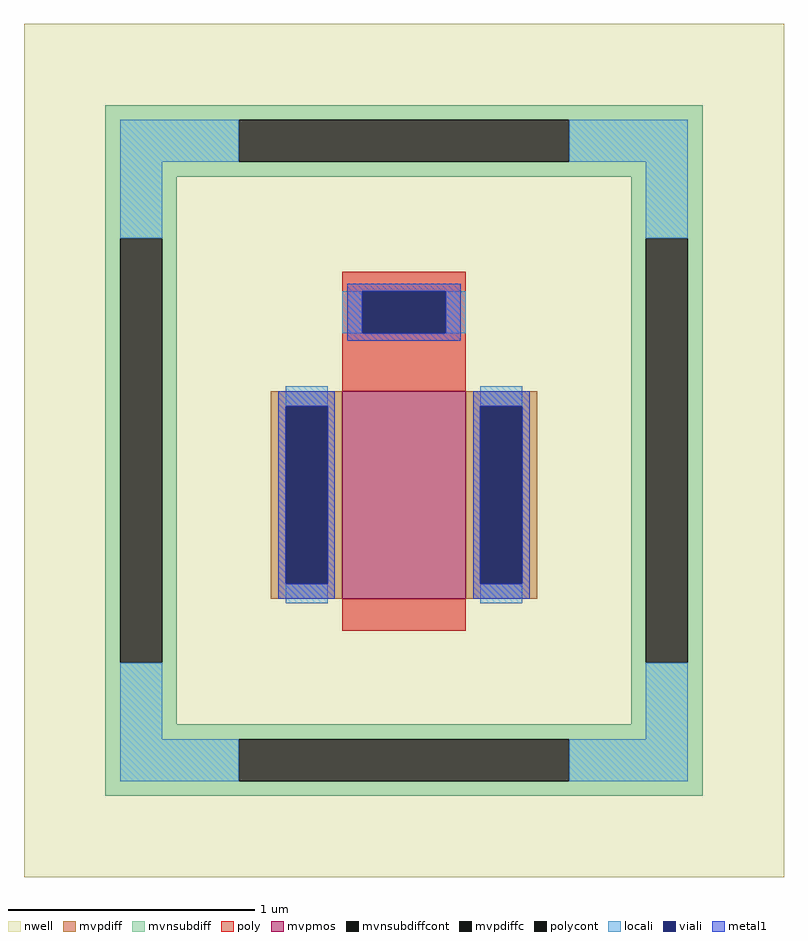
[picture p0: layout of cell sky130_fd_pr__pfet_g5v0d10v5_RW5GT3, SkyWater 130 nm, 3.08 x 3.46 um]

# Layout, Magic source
magic
tech sky130A
magscale 1 2
<< nwell >>
rect -308 -346 308 346
<< mvpmos >>
rect -50 -120 50 48
<< mvpdiff >>
rect -108 36 -50 48
rect -108 -108 -96 36
rect -62 -108 -50 36
rect -108 -120 -50 -108
rect 50 36 108 48
rect 50 -108 62 36
rect 96 -108 108 36
rect 50 -120 108 -108
<< mvpdiffc >>
rect -96 -108 -62 36
rect 62 -108 96 36
<< mvnsubdiff >>
rect -242 268 242 280
rect -242 234 -134 268
rect 134 234 242 268
rect -242 222 242 234
rect -242 172 -184 222
rect -242 -172 -230 172
rect -196 -172 -184 172
rect 184 172 242 222
rect -242 -222 -184 -172
rect 184 -172 196 172
rect 230 -172 242 172
rect 184 -222 242 -172
rect -242 -234 242 -222
rect -242 -268 -134 -234
rect 134 -268 242 -234
rect -242 -280 242 -268
<< mvnsubdiffcont >>
rect -134 234 134 268
rect -230 -172 -196 172
rect 196 -172 230 172
rect -134 -268 134 -234
<< poly >>
rect -50 129 50 145
rect -50 95 -34 129
rect 34 95 50 129
rect -50 48 50 95
rect -50 -146 50 -120
<< polycont >>
rect -34 95 34 129
<< locali >>
rect -230 234 -134 268
rect 134 234 230 268
rect -230 172 -196 234
rect 196 172 230 234
rect -50 95 -34 129
rect 34 95 50 129
rect -96 36 -62 52
rect -96 -124 -62 -108
rect 62 36 96 52
rect 62 -124 96 -108
rect -230 -234 -196 -172
rect 196 -234 230 -172
rect -230 -268 -134 -234
rect 134 -268 230 -234
<< viali >>
rect -34 95 34 129
rect -96 -108 -62 36
rect 62 -108 96 36
<< metal1 >>
rect -46 129 46 135
rect -46 95 -34 129
rect 34 95 46 129
rect -46 89 46 95
rect -102 36 -56 48
rect -102 -108 -96 36
rect -62 -108 -56 36
rect -102 -120 -56 -108
rect 56 36 102 48
rect 56 -108 62 36
rect 96 -108 102 36
rect 56 -120 102 -108
<< properties >>
string FIXED_BBOX -213 -251 213 251
string gencell sky130_fd_pr__pfet_g5v0d10v5
string library sky130
string parameters w 0.84 l 0.5 m 1 nf 1 diffcov 100 polycov 100 guard 1 glc 1 grc 1 gtc 1 gbc 1 tbcov 100 rlcov 100 topc 1 botc 0 poverlap 0 doverlap 1 lmin 0.50 wmin 0.42 compatible {sky130_fd_pr__pfet_01v8  sky130_fd_pr__pfet_01v8_lvt sky130_fd_pr__pfet_01v8_hvt  sky130_fd_pr__pfet_g5v0d10v5} full_metal 1 viasrc 100 viadrn 100 viagate 100 viagb 0 viagr 0 viagl 0 viagt 0
<< end >>
